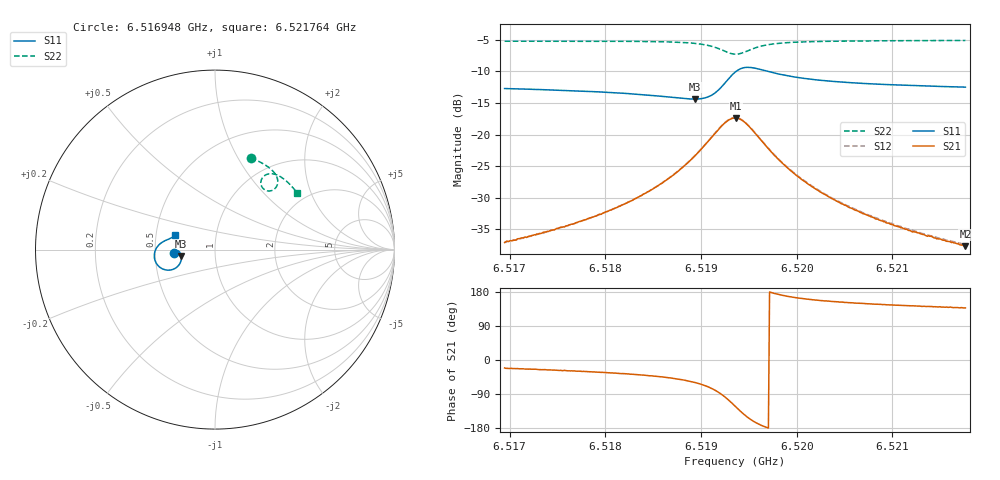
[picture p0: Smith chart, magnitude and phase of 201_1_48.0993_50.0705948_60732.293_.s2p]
#  HZ  S  RI  R  50.00
! Rohde & Schwarz Vector Network Analyzer
! Rohde-Schwarz,ZNB20-2Port,1311601062101988,3.16
! Created: UTC 12/23/2023, 3:54:45 AM
! freq[Hz]  re:S11  im:S11  re:S21  im:S21  re:S12  im:S12  re:S22  im:S22
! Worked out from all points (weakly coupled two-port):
!   401 points, 6.516948 GHz to 6.521764 GHz, reference 50 ohm
!   highest |S21| = -17.38 dB at 6.519368 GHz (marker M1); lowest = -37.7 dB at 6.521764 GHz (marker M2)
!   lowest |S11| = -14.4 dB at 6.518934 GHz (marker M3), VSWR 1.47, Z = 34.1 - j2.49 ohm
!   |S11| at or under -10 dB: start of sweep to 6.519367 GHz; 6.5197 GHz to end of sweep
!   |S22| runs from -7.3 to -5.1 dB; largest |S21 - S12| = 0.0042
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6.516948e9  -0.2306 -0.0181  0.013 -0.005  0.0132 -0.00472  0.1994 0.5106
6.5173814e9  -0.2259 -0.0116  0.0152 -0.00739  0.0154 -0.00685  0.2315 0.4973
6.5177547e9  -0.2207 -0.00721  0.0179 -0.0104  0.0182 -0.0097  0.2592 0.4836
6.5182001e9  -0.212 -0.00506  0.0227 -0.0166  0.0233 -0.016  0.2925 0.4627
6.5185613e9  -0.2014 -0.00931  0.0287 -0.0276  0.0297 -0.0267  0.3205 0.4395
6.5187419e9  -0.1946 -0.0171  0.0324 -0.0379  0.0338 -0.0371  0.3345 0.4229
6.5189345e9  -0.1877 -0.0351  0.0346 -0.0579  0.0366 -0.0571  0.3472 0.3971
6.5190428e9  -0.1875 -0.0542  0.0316 -0.0764  0.0341 -0.076  0.3499 0.3761
6.5191271e9  -0.1943 -0.0752  0.0221 -0.0956  0.0253 -0.0956  0.3452 0.3563
6.5192595e9  -0.2357 -0.1106  -0.0203 -0.1236  -0.0169 -0.1252  0.3135 0.3281
6.5193559e9  -0.2922 -0.1076  -0.0708 -0.1151  -0.068 -0.1181  0.2747 0.3347
6.5193679e9  -0.2991 -0.104  -0.0766 -0.1114  -0.0738 -0.1145  0.2706 0.338
6.5194161e9  -0.3218 -0.0838  -0.0946 -0.0913  -0.0926 -0.0948  0.2587 0.3548
6.5194762e9  -0.3364 -0.0526  -0.104 -0.0626  -0.103 -0.0661  0.2556 0.3784
6.5195726e9  -0.3344 -0.00933  -0.0977 -0.0258  -0.0977 -0.029  0.2693 0.4062
6.5196809e9  -0.3183 0.0199  -0.0807 -0.00368  -0.0813 -0.00587  0.2918 0.4199
6.5199217e9  -0.2868 0.0455  -0.0517 0.0117  -0.0525 0.0102  0.3321 0.4201
6.5201625e9  -0.2679 0.0543  -0.036 0.0138  -0.0369 0.0127  0.3595 0.409
6.5205116e9  -0.2517 0.061  -0.0242 0.0129  -0.0249 0.0123  0.3883 0.3894
6.5209691e9  -0.2389 0.0678  -0.0162 0.0111  -0.0168 0.0109  0.4179 0.3627
6.5214747e9  -0.2287 0.0748  -0.0115 0.0096  -0.0118 0.00946  0.4453 0.3319
6.5217637e9  -0.2239 0.0788  -0.0096 0.00882  -0.0102 0.00882  0.4592 0.3138
